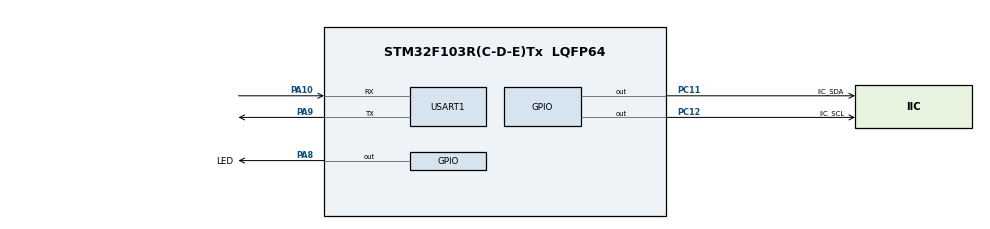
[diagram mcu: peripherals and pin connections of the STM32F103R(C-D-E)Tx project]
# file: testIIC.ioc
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Mcu.Family=STM32F1
Mcu.Name=STM32F103R(C-D-E)Tx
Mcu.Package=LQFP64
NVIC.PriorityGroup=NVIC_PRIORITYGROUP_4
NVIC.TIM1_UP_IRQn=true\:0\:0\:false\:false\:true\:true\:true\:true
NVIC.USART1_IRQn=true\:0\:0\:false\:false\:true\:true\:true\:true
PA10.Mode=Asynchronous
PA10.Signal=USART1_RX
PA13.Mode=Serial_Wire
PA13.Signal=SYS_JTMS-SWDIO
PA14.Mode=Serial_Wire
PA14.Signal=SYS_JTCK-SWCLK
PA8.GPIO_Label=LED
PA8.GPIO_Speed=GPIO_SPEED_FREQ_MEDIUM
PA8.PinState=GPIO_PIN_SET
PA8.Signal=GPIO_Output
PA9.Mode=Asynchronous
PA9.Signal=USART1_TX
PC11.GPIO_Label=IIC_SDA
PC11.GPIO_PuPd=GPIO_PULLUP
PC11.GPIO_Speed=GPIO_SPEED_FREQ_HIGH
PC11.PinState=GPIO_PIN_SET
PC11.Signal=GPIO_Output
PC12.GPIO_Label=IIC_SCL
PC12.GPIO_PuPd=GPIO_PULLUP
PC12.GPIO_Speed=GPIO_SPEED_FREQ_HIGH
PC12.PinState=GPIO_PIN_SET
PC12.Signal=GPIO_Output
PD0-OSC_IN.Mode=HSE-External-Oscillator
PD0-OSC_IN.Signal=RCC_OSC_IN
PD1-OSC_OUT.Mode=HSE-External-Oscillator
PD1-OSC_OUT.Signal=RCC_OSC_OUT
ProjectManager.HeapSize=0x200
ProjectManager.StackSize=0x400
ProjectManager.TargetToolchain=MDK-ARM V5.32
RCC.AHBFreq_Value=72000000
RCC.APB1CLKDivider=RCC_HCLK_DIV2
RCC.APB1Freq_Value=36000000
RCC.APB1TimFreq_Value=72000000
RCC.APB2Freq_Value=72000000
RCC.APB2TimFreq_Value=72000000
RCC.HCLKFreq_Value=72000000
RCC.PLLMUL=RCC_PLL_MUL9
RCC.PLLSourceVirtual=RCC_PLLSOURCE_HSE
RCC.SYSCLKFreq_VALUE=72000000
RCC.SYSCLKSource=RCC_SYSCLKSOURCE_PLLCLK
RCC.USBFreq_Value=72000000
TIM1.AutoReloadPreload=TIM_AUTORELOAD_PRELOAD_ENABLE
TIM1.Period=2000
TIM1.Prescaler=35999
USART1.VirtualMode=VM_ASYNC
VP_TIM1_VS_ClockSourceINT.Mode=Internal
board=custom

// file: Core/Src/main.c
/* USER CODE BEGIN Header */
/**
  ******************************************************************************
  * @file           : main.c
  * @brief          : Main program body
  ******************************************************************************
  * @attention
  *
  * Copyright (c) 2023 STMicroelectronics.
  * All rights reserved.
  *
  * This software is licensed under terms that can be found in the LICENSE file
  * in the root directory of this software component.
  * If no LICENSE file comes with this software, it is provided AS-IS.
  *
  ******************************************************************************
  */
/* USER CODE END Header */
#include "main.h"
#include "tim.h"
#include "usart.h"
#include "gpio.h"

/* USER CODE BEGIN Includes */
#include "stdio.h"
#include "AT24C.h"
/* USER CODE END Includes */

void SystemClock_Config(void);

/* USER CODE BEGIN 0 */
const uint8_t TEXT_Buffer[]={"赞赞提朗"};
uint8_t datatemp[25];
#define SIZE sizeof(TEXT_Buffer)
/* USER CODE END 0 */

int main(void)
{

  /* MCU Configuration--------------------------------------------------------*/

  /* Reset of all peripherals, Initializes the Flash interface and the Systick. */
  LL_APB2_GRP1_EnableClock(LL_APB2_GRP1_PERIPH_AFIO);
  LL_APB1_GRP1_EnableClock(LL_APB1_GRP1_PERIPH_PWR);

  /* System interrupt init*/
  NVIC_SetPriorityGrouping(NVIC_PRIORITYGROUP_4);

  /* SysTick_IRQn interrupt configuration */
  NVIC_SetPriority(SysTick_IRQn, NVIC_EncodePriority(NVIC_GetPriorityGrouping(),15, 0));

  /** NOJTAG: JTAG-DP Disabled and SW-DP Enabled
  */
  LL_GPIO_AF_Remap_SWJ_NOJTAG();

  /* Configure the system clock */
  SystemClock_Config();

  /* Initialize all configured peripherals */
  MX_GPIO_Init();
  MX_USART1_UART_Init();
  MX_TIM1_Init();
  /* USER CODE BEGIN 2 */
  AT24CXX_Init();
  while(AT24CXX_Check())//检测不到24c02
	{
    debug("24C02 Check Failed!\nPlease Check!");
    LL_GPIO_TogglePin(LED_GPIO_Port,LED_Pin);
    LL_mDelay(100);
  }
  AT24CXX_Write(0,(uint8_t *)TEXT_Buffer,SIZE);
  LL_mDelay(200);
  AT24CXX_Read(0,datatemp,SIZE);
  /* USER CODE END 2 */

  /* Infinite loop */
  while (1)
  {

    /* USER CODE BEGIN 3 */
    debug("hello world");
    debug("AT24 read out:%s\n",datatemp);
    LL_GPIO_TogglePin(LED_GPIO_Port,LED_Pin);
    LL_mDelay(100);
  }
  /* USER CODE END 3 */
}

void SystemClock_Config(void)
{
  LL_FLASH_SetLatency(LL_FLASH_LATENCY_2);
  while(LL_FLASH_GetLatency()!= LL_FLASH_LATENCY_2)
  {
  }
  LL_RCC_HSE_Enable();

   /* Wait till HSE is ready */
  while(LL_RCC_HSE_IsReady() != 1)
  {

  }
  LL_RCC_PLL_ConfigDomain_SYS(LL_RCC_PLLSOURCE_HSE_DIV_1, LL_RCC_PLL_MUL_9);
  LL_RCC_PLL_Enable();

   /* Wait till PLL is ready */
  while(LL_RCC_PLL_IsReady() != 1)
  {

  }
  LL_RCC_SetAHBPrescaler(LL_RCC_SYSCLK_DIV_1);
  LL_RCC_SetAPB1Prescaler(LL_RCC_APB1_DIV_2);
  LL_RCC_SetAPB2Prescaler(LL_RCC_APB2_DIV_1);
  LL_RCC_SetSysClkSource(LL_RCC_SYS_CLKSOURCE_PLL);

   /* Wait till System clock is ready */
  while(LL_RCC_GetSysClkSource() != LL_RCC_SYS_CLKSOURCE_STATUS_PLL)
  {

  }
  LL_Init1msTick(72000000);
  LL_SetSystemCoreClock(72000000);
}

void Error_Handler(void)
{
  __disable_irq();
  while (1)
  {
  }
}
